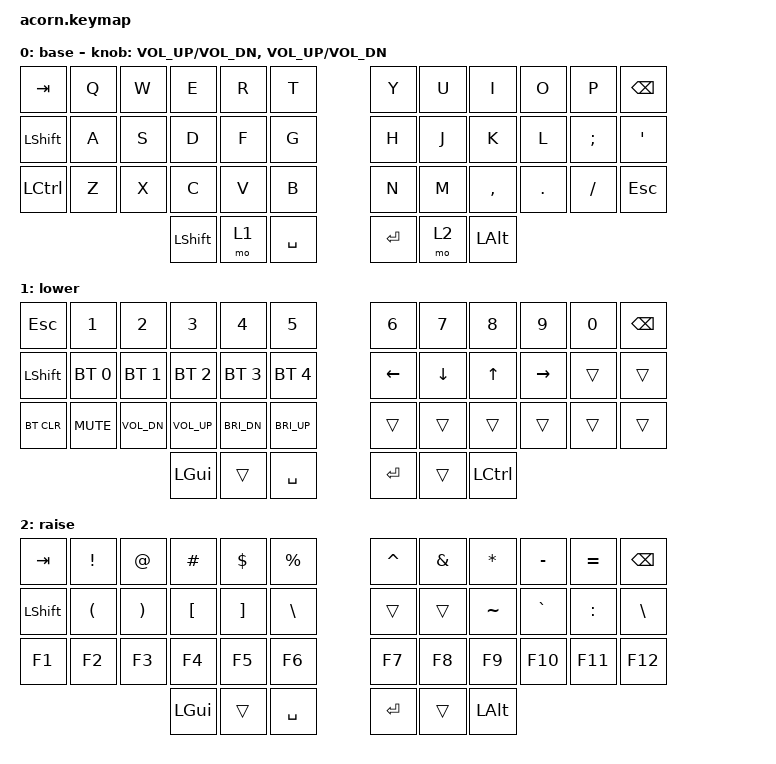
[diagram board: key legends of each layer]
#include <behaviors.dtsi>
#include <dt-bindings/zmk/keys.h>
#include <dt-bindings/zmk/bt.h>

/ {
    combos {
        compatible = "zmk,combos";

        combo_studio_unlock {
            timeout-ms = <50>;
            key-positions = <0 1>;
            bindings = <&studio_unlock>;
        };
    };

    keymap {
        compatible = "zmk,keymap";

        default_layer {
            display-name = "base";
            sensor-bindings = <&inc_dec_kp C_VOL_UP C_VOL_DN &inc_dec_kp C_VOL_UP C_VOL_DN>;
// -----------------------------------------------------------------------------------------
// |  TAB |  Q  |  W  |  E  |  R  |  T  |   |  Y  |  U   |  I  |  O  |  P  | BSPC |
// | SHFT |  A  |  S  |  D  |  F  |  G  |   |  H  |  J   |  K  |  L  |  ;  |  '   |
// | CTRL |  Z  |  X  |  C  |  V  |  B  |   |  N  |  M   |  ,  |  .  |  /  | ESC  |
//                    | SHFT| LWR | SPC |   | ENT | RSE  | ALT |
            bindings = <
&kp TAB   &kp Q &kp W &kp E &kp R &kp T   &kp Y &kp U  &kp I     &kp O   &kp P    &kp BSPC
&kp LSHFT &kp A &kp S &kp D &kp F &kp G   &kp H &kp J  &kp K     &kp L   &kp SEMI &kp SQT
&kp LCTRL &kp Z &kp X &kp C &kp V &kp B   &kp N &kp M  &kp COMMA &kp DOT &kp FSLH &kp ESC
                &kp LSHFT &mo 1 &kp SPACE   &kp RET &mo 2 &kp LALT
            >;
        };

        lower_layer {
            display-name = "lower";
// -----------------------------------------------------------------------------------------
// | ESC  |  1  |  2  |  3  |  4  |  5  |   |  6  |  7  |  8  |  9  |  0  | BSPC |
// | SHFT | BT1 | BT2 | BT3 | BT4 | BT5 |   | LFT | DWN |  UP | RGT |     |      |
// | BTCLR| MUTE| V_DN| V_UP|BRI_D|BRI_U|   |     |     |     |     |     |      |
//                    | GUI |     | SPC |   | ENT |     | CTRL|
            bindings = <
&kp ESC    &kp N1       &kp N2       &kp N3       &kp N4       &kp N5         &kp N6   &kp N7   &kp N8 &kp N9    &kp N0 &kp BSPC
&kp LSHFT  &bt BT_SEL 0 &bt BT_SEL 1 &bt BT_SEL 2 &bt BT_SEL 3 &bt BT_SEL 4   &kp LEFT &kp DOWN &kp UP &kp RIGHT &trans &trans
&bt BT_CLR &kp C_MUTE   &kp C_VOL_DN &kp C_VOL_UP &kp C_BRI_DN &kp C_BRI_UP   &trans   &trans   &trans &trans    &trans &trans
                                     &kp LGUI     &trans       &kp SPACE      &kp RET  &trans   &kp LCTRL
            >;
        };

        raise_layer {
            display-name = "raise";
// -----------------------------------------------------------------------------------------
// |  TAB |  !  |  @  |  #  |  $  |  %  |   |  ^  |  &  |  *  |  -  |  =  | BSPC |
// | SHFT |  (  |  )  |  [  |  ]  |  \  |   |     |     |  ~  |  `  |  :  |  /   |
// |  F1  | F2  | F3  | F4  | F5  | F6  |   | F7  | F8  | F9  | F10 | F11 | F12  |
//                    | GUI |     | SPC |   | ENT |     | ALT |
            bindings = <
&kp  TAB  &kp EXCL &kp AT   &kp HASH &kp DLLR &kp PRCNT   &kp CARET &kp AMPS  &kp ASTRK &kp MINUS &kp EQUAL &kp BSPC
&kp LSHFT &kp LPAR &kp RPAR &kp LBKT &kp RBKT &kp BSLH    &trans    &trans    &kp TILDE &kp GRAVE &kp COLON &kp BSLH
&kp F1    &kp F2   &kp F3   &kp F4   &kp F5   &kp F6      &kp F7    &kp F8    &kp F9    &kp F10   &kp F11   &kp F12
                            &kp LGUI &trans   &kp SPACE   &kp RET   &trans    &kp LALT
            >;
        };

        extra_layer0 {
            display-name = "extra_layer0";
            status = "reserved";
        };

        extra_layer1 {
            display-name = "extra_layer1";
            status = "reserved";
        };

        extra_layer2 {
            display-name = "extra_layer2";
            status = "reserved";
        };
    };
};
